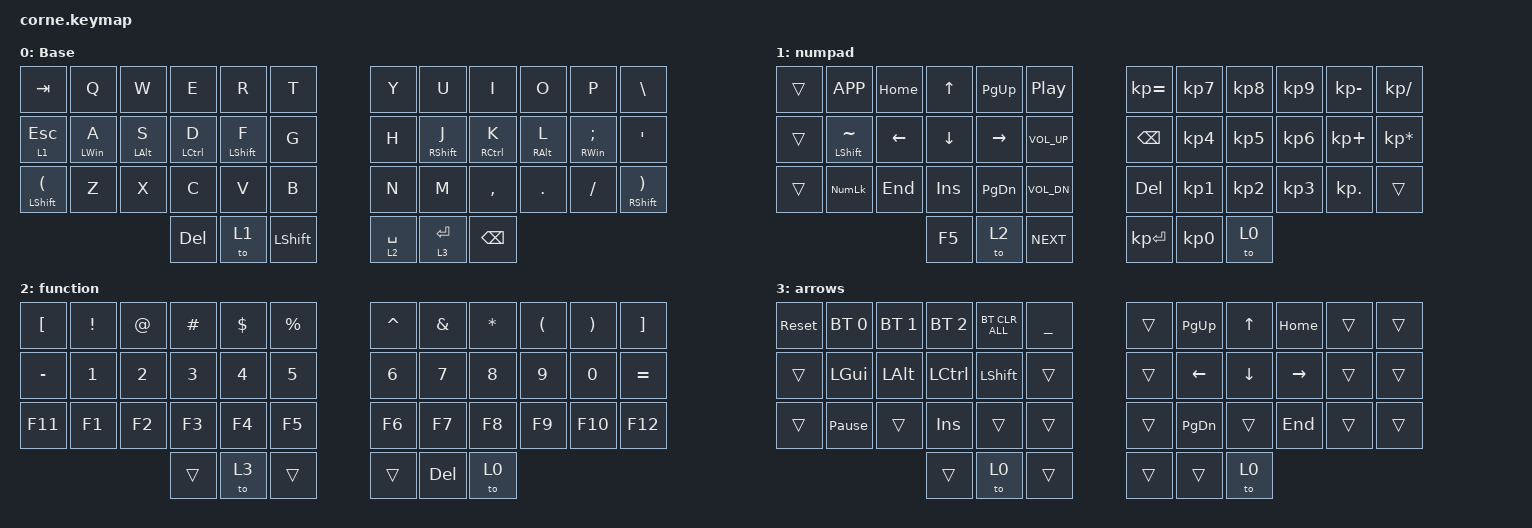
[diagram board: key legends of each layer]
/*
 * Copyright (c) 2020 The ZMK Contributors
 *
 * SPDX-License-Identifier: MIT
 */

#include <behaviors.dtsi>
#include <dt-bindings/zmk/bt.h>
#include <dt-bindings/zmk/keys.h>

/ {
    behaviors {
        pht: positional_hold_tap {
            compatible = "zmk,behavior-hold-tap";
            #binding-cells = <2>;
            flavor = "tap-preferred";
            tapping-term-ms = <600>;
            quick-tap-ms = <600>;
            bindings = <&kp>, <&kp>;
            #hold-trigger-key-positions = <1>;    // <---[[the W key]]
        };
    };

    keymap {
        compatible = "zmk,keymap";

        default_layer {
            // -----------------------------------------------------------------------------------------
            // |  TAB |  Q  |  W  |  E  |  R  |  T  |   |  Y  |  U   |  I  |  O  |  P  | BKSP |
            // | CTRL |  A  |  S  |  D  |  F  |  G  |   |  H  |  J   |  K  |  L  |  ;  |  '   |
            // | SHFT |  Z  |  X  |  C  |  V  |  B  |   |  N  |  M   |  ,  |  .  |  /  | ESC  |
            //                    | GUI | LWR | SPC |   | ENT | RSE  | ALT |

            display-name = "Base";
            bindings = <
&kp TAB         &kp Q           &kp W           &kp E        &kp R             &kp T             &kp Y        &kp U              &kp I          &kp O            &kp P               &kp BACKSLASH
&lt 1 ESC       &pht LEFT_WIN A  &pht LEFT_ALT S  &pht LCTRL D  &pht LEFT_SHIFT F  &kp G             &kp H        &pht RIGHT_SHIFT J  &pht RCTRL K    &pht RIGHT_ALT L  &pht RIGHT_WIN SEMI  &kp SQT
&mt LSHFT LPAR  &kp Z           &kp X           &kp C        &kp V             &kp B             &kp N        &kp M              &kp COMMA      &kp DOT          &kp FSLH            &mt RIGHT_SHIFT RPAR
                                                &kp DEL      &to 1             &kp LEFT_SHIFT    &lt 2 SPACE  &lt 3 ENTER        &kp BACKSPACE
            >;
        };

        lower_layer {
            // -----------------------------------------------------------------------------------------
            // |  TAB |  1  |  2  |  3  |  4  |  5  |   |  6  |  7  |  8  |  9  |  0  | BKSP |
            // | BTCLR| BT1 | BT2 | BT3 | BT4 | BT5 |   | LFT | DWN |  UP | RGT |     |      |
            // | SHFT |     |     |     |     |     |   |     |     |     |     |     |      |
            //                    | GUI |     | SPC |   | ENT |     | ALT |

            display-name = "numpad";
            bindings = <
&trans  &kp K_APP             &kp HOME        &kp UP    &kp PAGE_UP    &kp C_PP        &kp KP_EQUAL   &kp KP_N7  &kp KP_N8        &kp KP_N9  &kp KP_MINUS  &kp KP_SLASH
&trans  &pht LEFT_SHIFT TILDE  &kp LEFT_ARROW  &kp DOWN  &kp RIGHT      &kp C_VOL_UP    &kp BACKSPACE  &kp KP_N4  &kp KP_NUMBER_5  &kp KP_N6  &kp KP_PLUS   &kp KP_ASTERISK
&trans  &kp KP_NUMLOCK        &kp END         &kp INS   &kp PAGE_DOWN  &kp C_VOL_DN    &kp DEL        &kp KP_N1  &kp KP_N2        &kp KP_N3  &kp KP_DOT    &trans
                                              &kp F5    &to 2          &kp C_NEXT      &kp KP_ENTER   &kp KP_N0  &to 0
            >;
        };

        raise_layer {
            // -----------------------------------------------------------------------------------------
            // |  TAB |  !  |  @  |  #  |  $  |  %  |   |  ^  |  &  |  *  |  (  |  )  | BKSP |
            // | CTRL |     |     |     |     |     |   |  -  |  =  |  [  |  ]  |  \  |  `   |
            // | SHFT |     |     |     |     |     |   |  _  |  +  |  {  |  }  | "|" |  ~   |
            //                    | GUI |     | SPC |   | ENT |     | ALT |

            display-name = "function";
            bindings = <
&kp LEFT_BRACKET  &kp EXCL  &kp AT  &kp HASH  &kp DLLR  &kp PRCNT    &kp CARET  &kp AMPS  &kp ASTERISK  &kp LPAR  &kp RPAR  &kp RIGHT_BRACKET
&kp MINUS         &kp N1    &kp N2  &kp N3    &kp N4    &kp N5       &kp N6     &kp N7    &kp N8        &kp N9    &kp N0    &kp EQUAL
&kp F11           &kp F1    &kp F2  &kp F3    &kp F4    &kp F5       &kp F6     &kp F7    &kp F8        &kp F9    &kp F10   &kp F12
                                    &trans    &to 3     &trans       &trans     &kp DEL   &to 0
            >;
        };

        arrows {
            bindings = <
&sys_reset  &bt BT_SEL 0     &bt BT_SEL 1  &bt BT_SEL 2  &bt BT_CLR_ALL  &kp UNDER    &trans  &kp PG_UP  &kp UP    &kp HOME   &trans  &trans
&trans      &kp LGUI         &kp LALT      &kp LCTRL     &kp LSHFT       &trans       &trans  &kp LEFT   &kp DOWN  &kp RIGHT  &trans  &trans
&trans      &kp PAUSE_BREAK  &trans        &kp INS       &trans          &trans       &trans  &kp PG_DN  &trans    &kp END    &trans  &trans
                                           &trans        &to 0           &trans       &trans  &trans     &to 0
            >;
        };
    };
};
